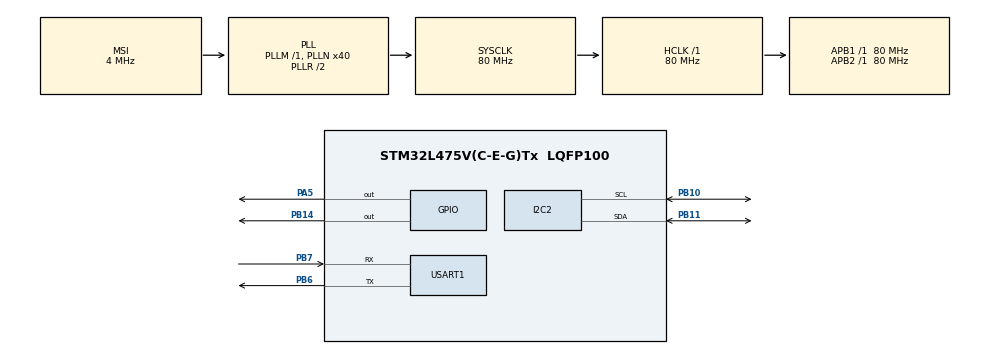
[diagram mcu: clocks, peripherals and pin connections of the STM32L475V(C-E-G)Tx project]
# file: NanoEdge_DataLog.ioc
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I2C2.Timing=0x10D19CE4
Mcu.Family=STM32L4
Mcu.Name=STM32L475V(C-E-G)Tx
Mcu.Package=LQFP100
NVIC.PriorityGroup=NVIC_PRIORITYGROUP_4
PA5.Signal=GPIO_Output
PB10.Mode=I2C
PB10.Signal=I2C2_SCL
PB11.Mode=I2C
PB11.Signal=I2C2_SDA
PB14.Signal=GPIO_Output
PB6.Mode=Asynchronous
PB6.Signal=USART1_TX
PB7.Mode=Asynchronous
PB7.Signal=USART1_RX
ProjectManager.HeapSize=0x200
ProjectManager.StackSize=0x400
ProjectManager.TargetToolchain=STM32CubeIDE
RCC.AHBFreq_Value=80000000
RCC.APB1Freq_Value=80000000
RCC.APB1TimFreq_Value=80000000
RCC.APB2Freq_Value=80000000
RCC.APB2TimFreq_Value=80000000
RCC.CortexFreq_Value=80000000
RCC.HCLKFreq_Value=80000000
RCC.HSE_VALUE=8000000
RCC.HSI_VALUE=16000000
RCC.LSE_VALUE=32768
RCC.MSI_VALUE=4000000
RCC.PLLN=40
RCC.SYSCLKFreq_VALUE=80000000
RCC.SYSCLKSource=RCC_SYSCLKSOURCE_PLLCLK
RCC.VCOOutputFreq_Value=160000000
USART1.VirtualMode-Asynchronous=VM_ASYNC
board=custom

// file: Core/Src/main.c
/* USER CODE BEGIN Header */
/**
  ******************************************************************************
  * @file           : main.c
  * @brief          : Main program body
  ******************************************************************************
  * @attention
  *
  * Copyright (c) 2025 STMicroelectronics.
  * All rights reserved.
  *
  * This software is licensed under terms that can be found in the LICENSE file
  * in the root directory of this software component.
  * If no LICENSE file comes with this software, it is provided AS-IS.
  *
  ******************************************************************************
  */
/* USER CODE END Header */
#include "main.h"

/* USER CODE BEGIN Includes */
#include <stdio.h>
#include <string.h>
#include "LSM6DSL.h"
/* USER CODE END Includes */

I2C_HandleTypeDef hi2c2;

UART_HandleTypeDef huart1;

void SystemClock_Config(void);
static void MX_GPIO_Init(void);
static void MX_I2C2_Init(void);
static void MX_USART1_UART_Init(void);

int main(void)
{

  /* MCU Configuration--------------------------------------------------------*/

  /* Reset of all peripherals, Initializes the Flash interface and the Systick. */
  HAL_Init();

  /* Configure the system clock */
  SystemClock_Config();

  /* Initialize all configured peripherals */
  MX_GPIO_Init();
  MX_I2C2_Init();
  MX_USART1_UART_Init();
  /* USER CODE BEGIN 2 */
  LSM6DSL_Init();

  /* USER CODE END 2 */

  /* Infinite loop */
  /* USER CODE BEGIN WHILE */
  while (1)
  {
	  float accel[3];

	  for (uint16_t i = 0; i < 64; i++) {

		  while(!LSM6DSL_DataReady());

		  LSM6DSL_ReadAccel(accel);

		  printf("%.3f %.3f %.3f ", accel[0], accel[1], accel[2]);

	  }

	  printf("\r\n");
    /* USER CODE END WHILE */

  }
}

void SystemClock_Config(void)
{
  RCC_OscInitTypeDef RCC_OscInitStruct = {0};
  RCC_ClkInitTypeDef RCC_ClkInitStruct = {0};

  /** Configure the main internal regulator output voltage
  */
  if (HAL_PWREx_ControlVoltageScaling(PWR_REGULATOR_VOLTAGE_SCALE1) != HAL_OK)
  {
    Error_Handler();
  }

  /** Initializes the RCC Oscillators according to the specified parameters
  * in the RCC_OscInitTypeDef structure.
  */
  RCC_OscInitStruct.OscillatorType = RCC_OSCILLATORTYPE_MSI;
  RCC_OscInitStruct.MSIState = RCC_MSI_ON;
  RCC_OscInitStruct.MSICalibrationValue = 0;
  RCC_OscInitStruct.MSIClockRange = RCC_MSIRANGE_6;
  RCC_OscInitStruct.PLL.PLLState = RCC_PLL_ON;
  RCC_OscInitStruct.PLL.PLLSource = RCC_PLLSOURCE_MSI;
  RCC_OscInitStruct.PLL.PLLM = 1;
  RCC_OscInitStruct.PLL.PLLN = 40;
  RCC_OscInitStruct.PLL.PLLP = RCC_PLLP_DIV7;
  RCC_OscInitStruct.PLL.PLLQ = RCC_PLLQ_DIV2;
  RCC_OscInitStruct.PLL.PLLR = RCC_PLLR_DIV2;
  if (HAL_RCC_OscConfig(&RCC_OscInitStruct) != HAL_OK)
  {
    Error_Handler();
  }

  /** Initializes the CPU, AHB and APB buses clocks
  */
  RCC_ClkInitStruct.ClockType = RCC_CLOCKTYPE_HCLK|RCC_CLOCKTYPE_SYSCLK
                              |RCC_CLOCKTYPE_PCLK1|RCC_CLOCKTYPE_PCLK2;
  RCC_ClkInitStruct.SYSCLKSource = RCC_SYSCLKSOURCE_PLLCLK;
  RCC_ClkInitStruct.AHBCLKDivider = RCC_SYSCLK_DIV1;
  RCC_ClkInitStruct.APB1CLKDivider = RCC_HCLK_DIV1;
  RCC_ClkInitStruct.APB2CLKDivider = RCC_HCLK_DIV1;

  if (HAL_RCC_ClockConfig(&RCC_ClkInitStruct, FLASH_LATENCY_4) != HAL_OK)
  {
    Error_Handler();
  }
}

static void MX_I2C2_Init(void)
{

  hi2c2.Instance = I2C2;
  hi2c2.Init.Timing = 0x10D19CE4;
  hi2c2.Init.OwnAddress1 = 0;
  hi2c2.Init.AddressingMode = I2C_ADDRESSINGMODE_7BIT;
  hi2c2.Init.DualAddressMode = I2C_DUALADDRESS_DISABLE;
  hi2c2.Init.OwnAddress2 = 0;
  hi2c2.Init.OwnAddress2Masks = I2C_OA2_NOMASK;
  hi2c2.Init.GeneralCallMode = I2C_GENERALCALL_DISABLE;
  hi2c2.Init.NoStretchMode = I2C_NOSTRETCH_DISABLE;
  if (HAL_I2C_Init(&hi2c2) != HAL_OK)
  {
    Error_Handler();
  }

  /** Configure Analogue filter
  */
  if (HAL_I2CEx_ConfigAnalogFilter(&hi2c2, I2C_ANALOGFILTER_ENABLE) != HAL_OK)
  {
    Error_Handler();
  }

  /** Configure Digital filter
  */
  if (HAL_I2CEx_ConfigDigitalFilter(&hi2c2, 0) != HAL_OK)
  {
    Error_Handler();
  }

}

static void MX_USART1_UART_Init(void)
{

  huart1.Instance = USART1;
  huart1.Init.BaudRate = 115200;
  huart1.Init.WordLength = UART_WORDLENGTH_8B;
  huart1.Init.StopBits = UART_STOPBITS_1;
  huart1.Init.Parity = UART_PARITY_NONE;
  huart1.Init.Mode = UART_MODE_TX_RX;
  huart1.Init.HwFlowCtl = UART_HWCONTROL_NONE;
  huart1.Init.OverSampling = UART_OVERSAMPLING_16;
  huart1.Init.OneBitSampling = UART_ONE_BIT_SAMPLE_DISABLE;
  huart1.AdvancedInit.AdvFeatureInit = UART_ADVFEATURE_NO_INIT;
  if (HAL_UART_Init(&huart1) != HAL_OK)
  {
    Error_Handler();
  }

}

static void MX_GPIO_Init(void)
{
  GPIO_InitTypeDef GPIO_InitStruct = {0};

  /* GPIO Ports Clock Enable */
  __HAL_RCC_GPIOA_CLK_ENABLE();
  __HAL_RCC_GPIOB_CLK_ENABLE();

  /*Configure GPIO pin Output Level */
  HAL_GPIO_WritePin(GPIOA, GPIO_PIN_5, GPIO_PIN_RESET);

  /*Configure GPIO pin Output Level */
  HAL_GPIO_WritePin(GPIOB, GPIO_PIN_14, GPIO_PIN_RESET);

  /*Configure GPIO pin : PA5 */
  GPIO_InitStruct.Pin = GPIO_PIN_5;
  GPIO_InitStruct.Mode = GPIO_MODE_OUTPUT_PP;
  GPIO_InitStruct.Pull = GPIO_NOPULL;
  GPIO_InitStruct.Speed = GPIO_SPEED_FREQ_LOW;
  HAL_GPIO_Init(GPIOA, &GPIO_InitStruct);

  /*Configure GPIO pin : PB14 */
  GPIO_InitStruct.Pin = GPIO_PIN_14;
  GPIO_InitStruct.Mode = GPIO_MODE_OUTPUT_PP;
  GPIO_InitStruct.Pull = GPIO_NOPULL;
  GPIO_InitStruct.Speed = GPIO_SPEED_FREQ_LOW;
  HAL_GPIO_Init(GPIOB, &GPIO_InitStruct);

}

/* USER CODE BEGIN 4 */

int __io_putchar(int ch)
{
uint8_t c[1];
c[0] = ch & 0x00FF;
HAL_UART_Transmit(&huart1, &*c, 1, 10);
return ch;
}

/* USER CODE END 4 */

void Error_Handler(void)
{
  __disable_irq();
  while (1)
  {
  }
}
